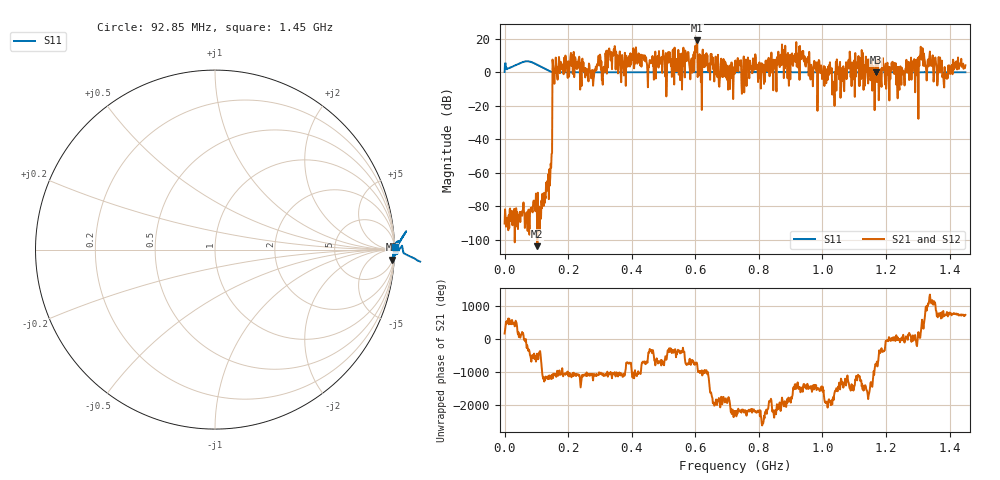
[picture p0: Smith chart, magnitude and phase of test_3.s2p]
! Created with skrf 1.11.0 (http://scikit-rf.org).
# Hz S RI R 50.0
!freq ReS11 ImS11 ReS21 ImS21 ReS12 ImS12 ReS22 ImS22
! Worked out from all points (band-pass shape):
!   1001 points, 50 kHz to 1.45 GHz, reference 50 ohm
!   highest |S21| = 19.05 dB at 606.1 MHz (marker M1); lowest = -104.0 dB at 103 MHz (marker M2)
!   |S21| within 3 dB of the highest: 605.4687 MHz to 606.3277 MHz (859 kHz wide, 0.142 % of centre); 872.8483 MHz to 873.0722 MHz (223.9 kHz wide, 0.0256 % of centre) (the widest 2 of 3)
!   lowest |S11| = -0.1 dB at 1.167 GHz (marker M3), VSWR 154.99, Z = 372 - j1.66e+03 ohm
!   |S11| at or under -10 dB: nowhere
!   |S22| runs from - to - dB; largest |S21 - S12| = 0
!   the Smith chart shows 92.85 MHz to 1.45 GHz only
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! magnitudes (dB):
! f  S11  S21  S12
! 50 kHz  0.2  -90.4  -90.4
! 103 MHz  4.4  -104.0  -104.0
! 121.8 MHz  2.5  -73.2  -73.2
! 142.1 MHz  0.7  -67.8  -67.8
! 158.1 MHz  0.0  0.9  0.9
! 242.2 MHz  0.1  -8.2  -8.2
! 308.9 MHz  0.0  -7.4  -7.4
! 333.5 MHz  0.0  7.1  7.1
! 484.3 MHz  0.0  2.8  2.8
! 606.1 MHz  0.0  19.0  19.0
! 614.8 MHz  0.0  4.7  4.7
! 725 MHz  0.1  6.6  6.6
! 936.7 MHz  0.0  12.6  12.6
! 967.2 MHz  0.1  -0.5  -0.5
! 1.037 GHz  0.0  -5.6  -5.6
! 1.08 GHz  0.0  2.2  2.2
! 1.167 GHz  -0.1  3.9  3.9
! 1.209 GHz  0.0  3.3  3.3
! 1.298 GHz  0.0  7.7  7.7
! 1.314 GHz  0.0  13.2  13.2
! 1.385 GHz  0.1  3.2  3.2
! 1.45 GHz  0.0  4.2  4.2
